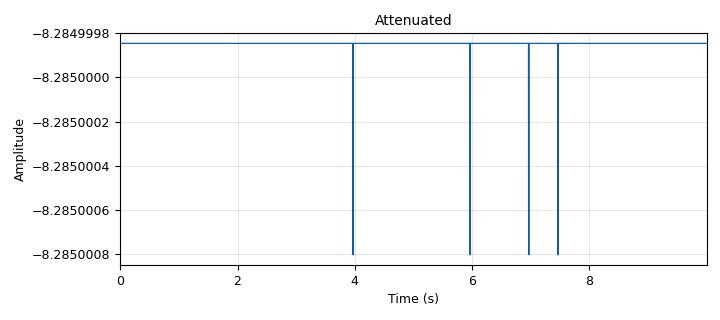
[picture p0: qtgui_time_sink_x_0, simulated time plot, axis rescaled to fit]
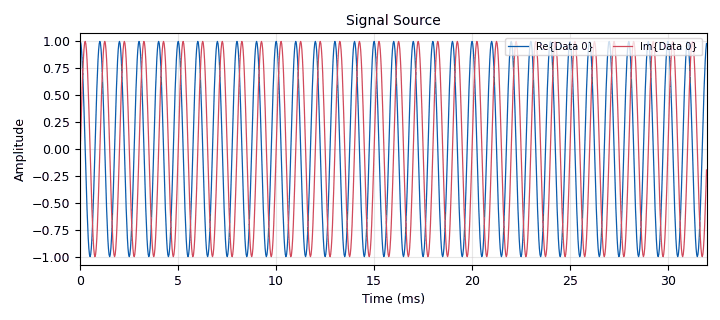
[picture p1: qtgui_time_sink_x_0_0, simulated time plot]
options:
  parameters:
    generate_options: qt_gui
    id: test_python_block
    output_language: python
    title: Not titled yet
  states: {}

blocks:
- name: distance
  id: variable_qtgui_range
  parameters:
    orient: Qt.Horizontal
    start: '0.01'
    step: '1'
    stop: '10000'
    value: '10'
    widget: counter
  states: {}
- name: samp_rate
  id: variable
  parameters:
    value: '32000'
  states: {}
- name: transmit_gain
  id: variable_qtgui_range
  parameters:
    orient: Qt.Horizontal
    start: '0'
    step: '1'
    stop: '100'
    value: '10'
    widget: counter
  states: {}
- name: analog_sig_source_x_0
  id: analog_sig_source_x
  parameters:
    amp: '1'
    freq: '1000'
    offset: '0'
    phase: '0'
    samp_rate: samp_rate
    type: complex
    waveform: analog.GR_COS_WAVE
  states: {}
- name: blocks_complex_to_mag_0
  id: blocks_complex_to_mag
  parameters: {}
  states: {}
- name: blocks_multiply_const_vxx_0
  id: blocks_multiply_const_vxx
  parameters:
    const: 10**(transmit_gain/20)
    type: complex
  states: {}
- name: blocks_nlog10_ff_0
  id: blocks_nlog10_ff
  parameters:
    k: '0'
  states: {}
- name: blocks_throttle_0
  id: blocks_throttle
  parameters:
    samples_per_second: samp_rate
    type: complex
  states: {}
- name: epy_block_0
  id: epy_block
  parameters:
    _source_code: "\"\"\"\nEmbedded Python Blocks:\n\nEach time this file is saved, GRC will instantiate the first class it finds\nto get ports and parameters of your block. The arguments to __init__  will\nbe the parameters. All of them are required to have default values!\n\"\"\"\n\nimport numpy as np\nfrom gnuradio import gr\n\n\nclass blk(gr.sync_block):  # other base classes are basic_block, decim_block, interp_block\n    \"\"\"Embedded Python Block example - a simple multiply const\"\"\"\n\n    def __init__(self, distance=1):  # only default arguments here\n        \"\"\"arguments to this function show up as parameters in GRC\"\"\"\n        gr.sync_block.__init__(\n            self,\n            name='Path Loss Block sBS',   # will show up in GRC\n            in_sig=[np.complex64],\n            out_sig=[np.complex64]\n        )\n        # if an attribute with the same name as a parameter is found,\n        # a callback is registered (properties work, too).\n        self.distance = distance\n\n    def work(self, input_items, output_items):\n        \"\"\"example: multiply with constant\"\"\"\n        pathloss = 128.1 + 37.6 * np.log10(self.distance) + 10\n        output_items[0][:] = input_items[0] * 10 ** (-pathloss / 20)     \n        return len(output_items[0])\n        \n"
    distance: distance
  states: {}
- name: qtgui_time_sink_x_0
  id: qtgui_time_sink_x
  parameters:
    name: Attenuated
    size: '10240'
    srate: '1024'
    type: float
    update_time: '1'
    ymax: '20'
    ymin: '-20'
  states: {}
- name: qtgui_time_sink_x_0_0
  id: qtgui_time_sink_x
  parameters:
    name: '"Signal Source"'
    size: '1024'
    srate: samp_rate
    type: complex
    update_time: '1'
  states: {}

connections:
- [analog_sig_source_x_0, '0', blocks_throttle_0, '0']
- [blocks_complex_to_mag_0, '0', blocks_nlog10_ff_0, '0']
- [blocks_multiply_const_vxx_0, '0', epy_block_0, '0']
- [blocks_nlog10_ff_0, '0', qtgui_time_sink_x_0, '0']
- [blocks_throttle_0, '0', blocks_multiply_const_vxx_0, '0']
- [blocks_throttle_0, '0', qtgui_time_sink_x_0_0, '0']
- [epy_block_0, '0', blocks_complex_to_mag_0, '0']

metadata:
  file_format: 1
